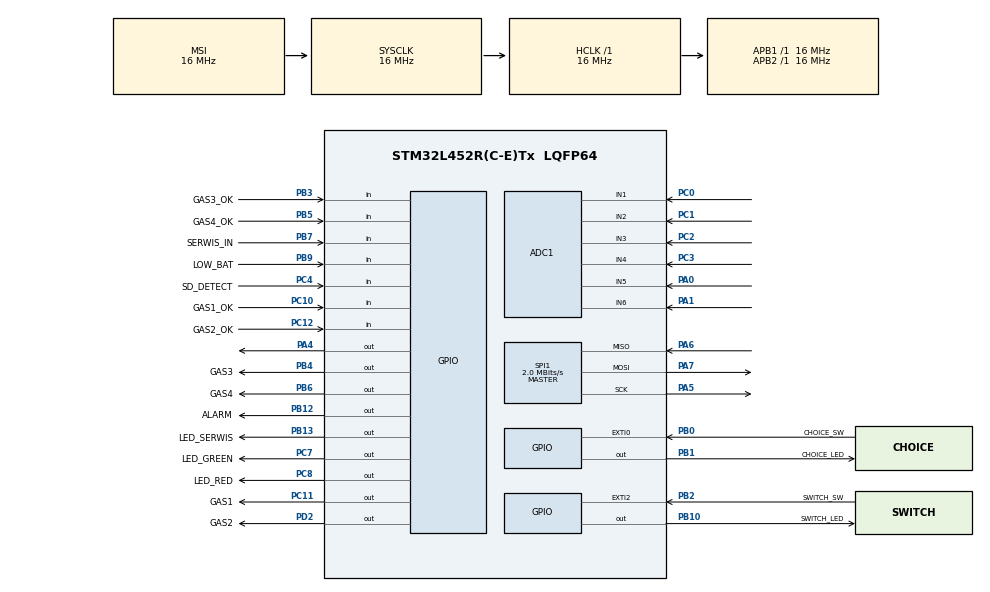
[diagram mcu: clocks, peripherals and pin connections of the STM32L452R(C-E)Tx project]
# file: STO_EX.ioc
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ADC1.Channel-0\#ChannelRegularConversion=ADC_CHANNEL_1
ADC1.Channel-1\#ChannelRegularConversion=ADC_CHANNEL_2
ADC1.Channel-2\#ChannelRegularConversion=ADC_CHANNEL_3
ADC1.Channel-3\#ChannelRegularConversion=ADC_CHANNEL_4
ADC1.Channel-4\#ChannelRegularConversion=ADC_CHANNEL_5
ADC1.Channel-5\#ChannelRegularConversion=ADC_CHANNEL_6
ADC1.ContinuousConvMode=ENABLE
ADC1.DMAContinuousRequests=ENABLE
ADC1.NbrOfConversion=6
ADC1.NbrOfConversionFlag=1
ADC1.OffsetNumber-0\#ChannelRegularConversion=ADC_OFFSET_NONE
ADC1.OffsetNumber-1\#ChannelRegularConversion=ADC_OFFSET_NONE
ADC1.OffsetNumber-2\#ChannelRegularConversion=ADC_OFFSET_NONE
ADC1.OffsetNumber-3\#ChannelRegularConversion=ADC_OFFSET_NONE
ADC1.OffsetNumber-4\#ChannelRegularConversion=ADC_OFFSET_NONE
ADC1.OffsetNumber-5\#ChannelRegularConversion=ADC_OFFSET_NONE
ADC1.Rank-0\#ChannelRegularConversion=1
ADC1.Rank-1\#ChannelRegularConversion=2
ADC1.Rank-2\#ChannelRegularConversion=3
ADC1.Rank-3\#ChannelRegularConversion=4
ADC1.Rank-4\#ChannelRegularConversion=5
ADC1.Rank-5\#ChannelRegularConversion=6
ADC1.SamplingTime-0\#ChannelRegularConversion=ADC_SAMPLETIME_640CYCLES_5
ADC1.SamplingTime-1\#ChannelRegularConversion=ADC_SAMPLETIME_640CYCLES_5
ADC1.SamplingTime-2\#ChannelRegularConversion=ADC_SAMPLETIME_640CYCLES_5
ADC1.SamplingTime-3\#ChannelRegularConversion=ADC_SAMPLETIME_640CYCLES_5
ADC1.SamplingTime-4\#ChannelRegularConversion=ADC_SAMPLETIME_640CYCLES_5
ADC1.SamplingTime-5\#ChannelRegularConversion=ADC_SAMPLETIME_640CYCLES_5
ADC1.master=1
Dma.ADC1.0.Direction=DMA_PERIPH_TO_MEMORY
Dma.ADC1.0.Instance=DMA1_Channel1
Dma.ADC1.0.MemDataAlignment=DMA_MDATAALIGN_HALFWORD
Dma.ADC1.0.MemInc=DMA_MINC_ENABLE
Dma.ADC1.0.Mode=DMA_CIRCULAR
Dma.ADC1.0.PeriphDataAlignment=DMA_PDATAALIGN_HALFWORD
Dma.ADC1.0.PeriphInc=DMA_PINC_DISABLE
Dma.ADC1.0.Priority=DMA_PRIORITY_LOW
Dma.Request0=ADC1
FATFS._MAX_SS=4096
FATFS._USE_LFN=1
Mcu.Family=STM32L4
Mcu.Name=STM32L452R(C-E)Tx
Mcu.Package=LQFP64
NVIC.DMA1_Channel1_IRQn=true\:0\:0\:false\:false\:true\:false\:true\:true
NVIC.EXTI0_IRQn=true\:7\:0\:true\:false\:true\:true\:true\:true
NVIC.EXTI2_IRQn=true\:6\:0\:true\:false\:true\:true\:true\:true
NVIC.FLASH_IRQn=true\:0\:0\:false\:false\:true\:true\:true\:true
NVIC.PriorityGroup=NVIC_PRIORITYGROUP_4
PA0.Signal=ADCx_IN5
PA1.Signal=ADCx_IN6
PA13\ (JTMS/SWDIO).Mode=Serial_Wire
PA13\ (JTMS/SWDIO).Signal=SYS_JTMS-SWDIO
PA14\ (JTCK/SWCLK).Mode=Serial_Wire
PA14\ (JTCK/SWCLK).Signal=SYS_JTCK-SWCLK
PA4.Signal=GPIO_Output
PA5.GPIO_Speed=GPIO_SPEED_FREQ_VERY_HIGH
PA5.Mode=Full_Duplex_Master
PA5.Signal=SPI1_SCK
PA6.GPIO_Speed=GPIO_SPEED_FREQ_VERY_HIGH
PA6.Mode=Full_Duplex_Master
PA6.Signal=SPI1_MISO
PA7.GPIO_Speed=GPIO_SPEED_FREQ_VERY_HIGH
PA7.Mode=Full_Duplex_Master
PA7.Signal=SPI1_MOSI
PB0.GPIO_Label=CHOICE_SW
PB0.Signal=GPXTI0
PB1.GPIO_Label=CHOICE_LED
PB1.Signal=GPIO_Output
PB10.GPIO_Label=SWITCH_LED
PB10.Signal=GPIO_Output
PB12.GPIO_Label=ALARM
PB12.Signal=GPIO_Output
PB13.GPIO_Label=LED_SERWIS
PB13.Signal=GPIO_Output
PB2.GPIO_Label=SWITCH_SW
PB2.GPIO_ModeDefaultEXTI=GPIO_MODE_IT_RISING
PB2.Signal=GPXTI2
PB3\ (JTDO/TRACESWO).GPIO_Label=GAS3_OK
PB3\ (JTDO/TRACESWO).GPIO_PuPd=GPIO_PULLUP
PB3\ (JTDO/TRACESWO).Signal=GPIO_Input
PB4\ (NJTRST).GPIO_Label=GAS3
PB4\ (NJTRST).Signal=GPIO_Output
PB5.GPIO_Label=GAS4_OK
PB5.GPIO_PuPd=GPIO_PULLUP
PB5.Signal=GPIO_Input
PB6.GPIO_Label=GAS4
PB6.Signal=GPIO_Output
PB7.GPIO_Label=SERWIS_IN
PB7.Signal=GPIO_Input
PB9.GPIO_Label=LOW_BAT
PB9.Signal=GPIO_Input
PC0.Signal=ADCx_IN1
PC1.Signal=ADCx_IN2
PC10.GPIO_Label=GAS1_OK
PC10.GPIO_PuPd=GPIO_PULLUP
PC10.Signal=GPIO_Input
PC11.GPIO_Label=GAS1
PC11.Signal=GPIO_Output
PC12.GPIO_Label=GAS2_OK
PC12.GPIO_PuPd=GPIO_PULLUP
PC12.Signal=GPIO_Input
PC14-OSC32_IN\ (PC14).Mode=LSE-External-Oscillator
PC14-OSC32_IN\ (PC14).Signal=RCC_OSC32_IN
PC15-OSC32_OUT\ (PC15).Mode=LSE-External-Oscillator
PC15-OSC32_OUT\ (PC15).Signal=RCC_OSC32_OUT
PC2.Signal=ADCx_IN3
PC3.Signal=ADCx_IN4
PC4.GPIO_Label=SD_DETECT
PC4.Signal=GPIO_Input
PC7.GPIO_Label=LED_GREEN
PC7.Signal=GPIO_Output
PC8.GPIO_Label=LED_RED
PC8.Signal=GPIO_Output
PD2.GPIO_Label=GAS2
PD2.Signal=GPIO_Output
PH0-OSC_IN\ (PH0).Mode=HSE-External-Oscillator
PH0-OSC_IN\ (PH0).Signal=RCC_OSC_IN
PH1-OSC_OUT\ (PH1).Mode=HSE-External-Oscillator
PH1-OSC_OUT\ (PH1).Signal=RCC_OSC_OUT
ProjectManager.HeapSize=0x200
ProjectManager.StackSize=0x400
ProjectManager.TargetToolchain=STM32CubeIDE
RCC.ADCFreq_Value=64000000
RCC.AHBFreq_Value=16000000
RCC.APB1Freq_Value=16000000
RCC.APB1TimFreq_Value=16000000
RCC.APB2Freq_Value=16000000
RCC.APB2TimFreq_Value=16000000
RCC.CortexFreq_Value=16000000
RCC.HCLKFreq_Value=16000000
RCC.HSE_VALUE=16000000
RCC.HSI48_VALUE=48000000
RCC.HSI_VALUE=16000000
RCC.MSIClockRange=RCC_MSIRANGE_8
RCC.MSI_VALUE=16000000
RCC.PLLSourceVirtual=RCC_PLLSOURCE_HSE
RCC.RTCClockSelection=RCC_RTCCLKSOURCE_LSE
RCC.SYSCLKFreq_VALUE=16000000
RCC.USBFreq_Value=64000000
RCC.VCOOutputFreq_Value=128000000
SH.ADCx_IN1.0=ADC1_IN1,IN1-Single-Ended
SH.ADCx_IN2.0=ADC1_IN2,IN2-Single-Ended
SH.ADCx_IN3.0=ADC1_IN3,IN3-Single-Ended
SH.ADCx_IN4.0=ADC1_IN4,IN4-Single-Ended
SH.ADCx_IN5.0=ADC1_IN5,IN5-Single-Ended
SH.ADCx_IN6.0=ADC1_IN6,IN6-Single-Ended
SPI1.BaudRatePrescaler=SPI_BAUDRATEPRESCALER_8
SPI1.CalculateBaudRate=2.0 MBits/s
SPI1.DataSize=SPI_DATASIZE_8BIT
SPI1.Direction=SPI_DIRECTION_2LINES
SPI1.Mode=SPI_MODE_MASTER
SPI1.VirtualType=VM_MASTER
VP_FATFS_VS_Generic.Mode=User_defined
VP_RTC_VS_RTC_Activate.Mode=RTC_Enabled
board=custom

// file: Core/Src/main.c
/* USER CODE BEGIN Header */
/**
  ******************************************************************************
  * @file           : main.c
  * @brief          : Main program body
  ******************************************************************************
  * @attention
  *
  * Copyright (c) 2023 STMicroelectronics.
  * All rights reserved.
  *
  * This software is licensed under terms that can be found in the LICENSE file
  * in the root directory of this software component.
  * If no LICENSE file comes with this software, it is provided AS-IS.
  *
  ******************************************************************************
  */
/* USER CODE END Header */
#include "main.h"
#include "adc.h"
#include "dma.h"
#include "fatfs.h"
#include "rtc.h"
#include "spi.h"
#include "gpio.h"

/* USER CODE BEGIN Includes */
#include <sdcard.h>
#include "stm32l4xx_hal.h"
#include <counter.h>
#include <configuration.h>
#include "stdbool.h"
#include <det_cable.h>
#include <extinguisher.h>
#include <fault.h>
#include <service.h>
#include <breakup.h>
/* USER CODE END Includes */

/* USER CODE BEGIN PV */
void InitProcess()
{
	        HAL_GPIO_TogglePin(LED_SERWIS_GPIO_Port, LED_SERWIS_Pin);
			HAL_GPIO_TogglePin( LED_GREEN_GPIO_Port, LED_GREEN_Pin);
			HAL_GPIO_TogglePin(LED_RED_GPIO_Port, LED_RED_Pin);
			HAL_Delay(500);
	        HAL_GPIO_TogglePin(LED_SERWIS_GPIO_Port, LED_SERWIS_Pin);
			HAL_GPIO_TogglePin( LED_GREEN_GPIO_Port, LED_GREEN_Pin);
			HAL_GPIO_TogglePin(LED_RED_GPIO_Port, LED_RED_Pin);
		    HAL_Delay(500);
	        HAL_GPIO_TogglePin(LED_SERWIS_GPIO_Port, LED_SERWIS_Pin);
			HAL_GPIO_TogglePin( LED_GREEN_GPIO_Port, LED_GREEN_Pin);
			HAL_GPIO_TogglePin(LED_RED_GPIO_Port, LED_RED_Pin);
			HAL_Delay(500);
	        HAL_GPIO_TogglePin(LED_SERWIS_GPIO_Port, LED_SERWIS_Pin);
			HAL_GPIO_TogglePin( LED_GREEN_GPIO_Port, LED_GREEN_Pin);
			HAL_GPIO_TogglePin(LED_RED_GPIO_Port, LED_RED_Pin);
			HAL_Delay(500);
	        HAL_GPIO_TogglePin(LED_SERWIS_GPIO_Port, LED_SERWIS_Pin);
			HAL_GPIO_TogglePin( LED_GREEN_GPIO_Port, LED_GREEN_Pin);
			HAL_GPIO_TogglePin(LED_RED_GPIO_Port, LED_RED_Pin);
			HAL_Delay(500);
	        HAL_GPIO_TogglePin(LED_SERWIS_GPIO_Port, LED_SERWIS_Pin);
			HAL_GPIO_TogglePin( LED_GREEN_GPIO_Port, LED_GREEN_Pin);
			HAL_GPIO_TogglePin(LED_RED_GPIO_Port, LED_RED_Pin);
			HAL_Delay(500);
}
/* USER CODE END PV */

void SystemClock_Config(void);

int main(void)
{

  /* MCU Configuration--------------------------------------------------------*/

  /* Reset of all peripherals, Initializes the Flash interface and the Systick. */
  HAL_Init();

  /* Configure the system clock */
  SystemClock_Config();

  /* Initialize all configured peripherals */
  MX_GPIO_Init();
  MX_DMA_Init();
  MX_RTC_Init();
  MX_SPI1_Init();
  MX_FATFS_Init();
  MX_ADC1_Init();
  /* USER CODE BEGIN 2 */
  InitProcess();
  RtcInit();
  InitAdc();
  InitSd();
  LoadConfiguration();

  //RtcInit();

  /* USER CODE END 2 */

  /* Infinite loop */
  while (1)
  {

    /* USER CODE BEGIN 3 */
	  ServiceProcess();
	  DetCableProcess();
	  ExtinguisherProcess(&config, CheckWires());
	  BreakupProcess();
	  ConfigurationMode();

  }
  /* USER CODE END 3 */
}

void SystemClock_Config(void)
{
  RCC_OscInitTypeDef RCC_OscInitStruct = {0};
  RCC_ClkInitTypeDef RCC_ClkInitStruct = {0};

  /** Configure the main internal regulator output voltage
  */
  if (HAL_PWREx_ControlVoltageScaling(PWR_REGULATOR_VOLTAGE_SCALE1) != HAL_OK)
  {
    Error_Handler();
  }

  /** Configure LSE Drive Capability
  */
  HAL_PWR_EnableBkUpAccess();
  __HAL_RCC_LSEDRIVE_CONFIG(RCC_LSEDRIVE_LOW);

  /** Initializes the RCC Oscillators according to the specified parameters
  * in the RCC_OscInitTypeDef structure.
  */
  RCC_OscInitStruct.OscillatorType = RCC_OSCILLATORTYPE_HSE|RCC_OSCILLATORTYPE_LSE
                              |RCC_OSCILLATORTYPE_MSI;
  RCC_OscInitStruct.HSEState = RCC_HSE_ON;
  RCC_OscInitStruct.LSEState = RCC_LSE_ON;
  RCC_OscInitStruct.MSIState = RCC_MSI_ON;
  RCC_OscInitStruct.MSICalibrationValue = 0;
  RCC_OscInitStruct.MSIClockRange = RCC_MSIRANGE_8;
  RCC_OscInitStruct.PLL.PLLState = RCC_PLL_NONE;
  if (HAL_RCC_OscConfig(&RCC_OscInitStruct) != HAL_OK)
  {
    Error_Handler();
  }

  /** Initializes the CPU, AHB and APB buses clocks
  */
  RCC_ClkInitStruct.ClockType = RCC_CLOCKTYPE_HCLK|RCC_CLOCKTYPE_SYSCLK
                              |RCC_CLOCKTYPE_PCLK1|RCC_CLOCKTYPE_PCLK2;
  RCC_ClkInitStruct.SYSCLKSource = RCC_SYSCLKSOURCE_MSI;
  RCC_ClkInitStruct.AHBCLKDivider = RCC_SYSCLK_DIV1;
  RCC_ClkInitStruct.APB1CLKDivider = RCC_HCLK_DIV1;
  RCC_ClkInitStruct.APB2CLKDivider = RCC_HCLK_DIV1;

  if (HAL_RCC_ClockConfig(&RCC_ClkInitStruct, FLASH_LATENCY_0) != HAL_OK)
  {
    Error_Handler();
  }

  /** Enable MSI Auto calibration
  */
  HAL_RCCEx_EnableMSIPLLMode();
}

/* USER CODE BEGIN 4 */

void HAL_GPIO_EXTI_Callback(uint16_t GPIO_Pin)
{
	 if (GPIO_Pin == SWITCH_SW_Pin && !SwButPressed()) {
		 SwButtonCount();
	  }

	 if (GPIO_Pin == CHOICE_SW_Pin && !ChButPressed()) {
	 	 ChButtonCount();
	 }
}

/* USER CODE END 4 */

void Error_Handler(void)
{
  __disable_irq();
  while (1)
  {
  }
}
